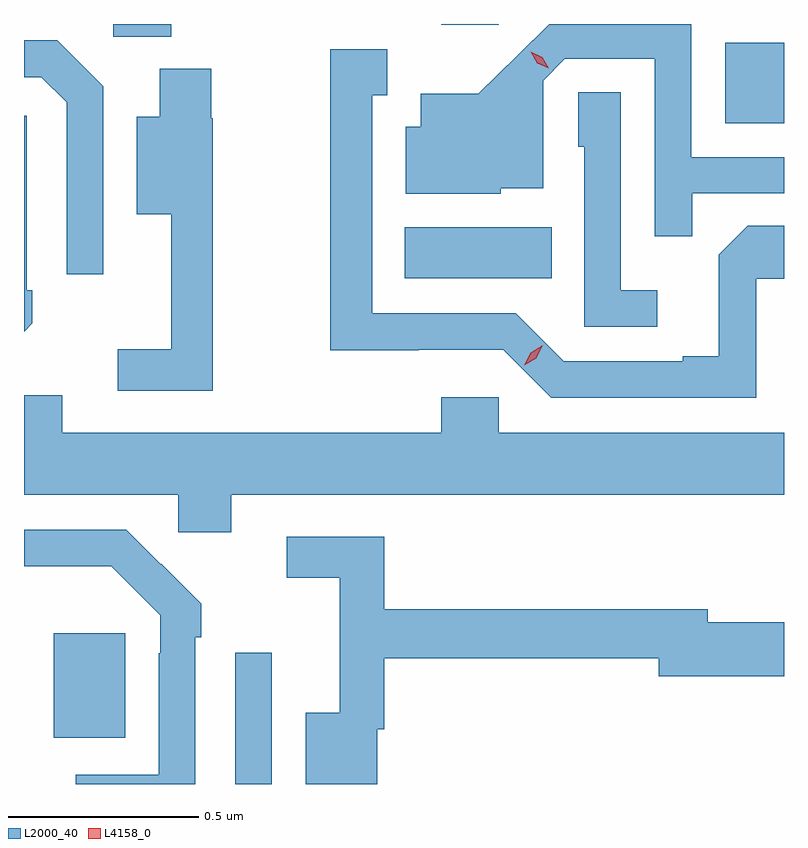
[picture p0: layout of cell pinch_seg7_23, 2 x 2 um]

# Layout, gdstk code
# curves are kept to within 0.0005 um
import gdstk
lib = gdstk.Library(unit=1e-6, precision=1e-09)
def R(c, l, rs):  # rectangles x0, y0, x1, y1
    for r in rs: c.add(gdstk.rectangle(r[:2], r[2:], *l))
def P(c, l, *ps):  # polygons
    for p in ps: c.add(gdstk.Polygon(p, *l))
L2000_40 = (2000, 40)
L4158_0 = (4158, 0)

pinch_seg7_23 = lib.new_cell('pinch_seg7_23')
R(pinch_seg7_23, L2000_40, [(1019.373,1058.463,1019.469,1058.809), (1018.895,1058.585,1019.083,1058.86), (1019.819,1059.794,1020.206,1059.928), (1020.662,1060.202,1020.817,1060.414), (1019.052,1060.43,1019.204,1060.463), (1019.915,1060.461,1020.066,1060.463)])
P(pinch_seg7_23, L2000_40, [(1020.575,1060.017),(1020.817,1060.017),(1020.817,1060.113),(1020.573,1060.113),(1020.573,1060.463),(1020.199,1060.463),(1020.013,1060.279),(1019.861,1060.279),(1019.861,1060.192),(1019.822,1060.192),(1019.822,1060.016),(1020.072,1060.016),(1020.072,1060.031),(1020.183,1060.031),(1020.183,1060.314),(1020.24,1060.371),(1020.477,1060.371),(1020.477,1059.904),(1020.575,1059.904)],
  [(1019.025,1060.299),(1018.904,1060.42),(1018.817,1060.42),(1018.817,1060.323),(1018.863,1060.323),(1018.929,1060.257),(1018.929,1059.804),(1019.025,1059.804)],
  [(1020.744,1059.792),(1020.817,1059.792),(1020.817,1059.932),(1020.721,1059.932),(1020.645,1059.856),(1020.645,1059.589),(1020.551,1059.589),(1020.551,1059.576),(1020.237,1059.576),(1020.111,1059.702),(1019.734,1059.702),(1019.734,1060.275),(1019.773,1060.275),(1019.773,1060.396),(1019.623,1060.396),(1019.623,1059.605),(1019.856,1059.605),(1019.856,1059.606),(1020.078,1059.606),(1020.204,1059.48),(1020.744,1059.48)],
  [(1019.314,1060.215),(1019.31,1060.215),(1019.31,1060.345),(1019.174,1060.345),(1019.174,1060.219),(1019.114,1060.219),(1019.114,1059.962),(1019.204,1059.962),(1019.204,1059.607),(1019.064,1059.607),(1019.064,1059.498),(1019.314,1059.498)],
  [(1020.484,1059.763),(1020.387,1059.763),(1020.387,1060.283),(1020.276,1060.283),(1020.276,1060.14),(1020.291,1060.14),(1020.291,1059.666),(1020.484,1059.666)],
  [(1018.839,1059.675),(1018.839,1059.763),(1018.824,1059.763),(1018.824,1060.221),(1018.817,1060.221),(1018.817,1059.653)],
  [(1019.362,1059.224),(1020.817,1059.224),(1020.817,1059.388),(1020.066,1059.388),(1020.066,1059.481),(1019.915,1059.481),(1019.915,1059.388),(1018.918,1059.388),(1018.918,1059.486),(1018.817,1059.486),(1018.817,1059.224),(1019.223,1059.224),(1019.223,1059.126),(1019.362,1059.126)],
  [(1019.268,1058.849),(1019.283,1058.849),(1019.283,1058.937),(1019.178,1059.042),(1019.177,1059.041),(1019.086,1059.132),(1018.817,1059.132),(1018.817,1059.036),(1019.047,1059.036),(1019.175,1058.907),(1019.175,1058.807),(1019.172,1058.807),(1019.172,1058.487),(1018.953,1058.487),(1018.953,1058.463),(1019.268,1058.463)],
  [(1019.746,1058.607),(1019.765,1058.607),(1019.765,1058.794),(1020.488,1058.794),(1020.488,1058.747),(1020.817,1058.747),(1020.817,1058.889),(1020.616,1058.889),(1020.616,1058.923),(1019.765,1058.923),(1019.765,1059.114),(1019.508,1059.114),(1019.508,1059.006),(1019.648,1059.006),(1019.648,1058.65),(1019.558,1058.65),(1019.558,1058.463),(1019.746,1058.463)])
P(pinch_seg7_23, L4158_0, [(1020.198,1060.346),(1020.167,1060.36),(1020.15,1060.39),(1020.15,1060.39),(1020.15,1060.39),(1020.181,1060.375),(1020.198,1060.346),(1020.198,1060.346)],
  [(1020.134,1059.565),(1020.134,1059.565),(1020.151,1059.598),(1020.182,1059.617),(1020.182,1059.617),(1020.182,1059.617),(1020.165,1059.584),(1020.134,1059.565)])

lib.write_gds('pinch_seg7_23.gds')
